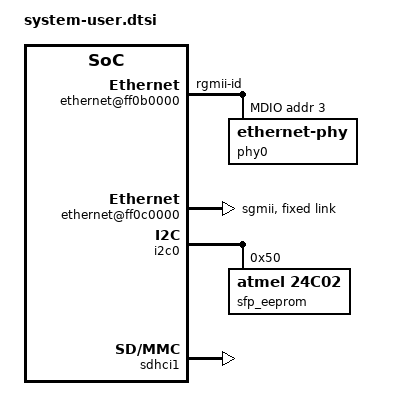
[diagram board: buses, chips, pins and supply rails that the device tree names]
/include/ "system-conf.dtsi"
/ {
};

/* Debug ethernet port */
&{/axi/ethernet@ff0b0000} {
    status = "okay";
    phy-mode = "rgmii-id";
    /delete-node/ fixed-link;
    mdio {
        #address-cells = <1>;
        #size-cells = <0>;
        phy0: ethernet-phy@3 {
            reg = <3>;
            device_type = "ethernet-phy";
        };
    };
};

/* SFP GbE */
&{/axi/ethernet@ff0c0000} {
    status = "okay";
    phy-mode = "sgmii";
    is-internal-pcspma;
    fixed-link {
        speed = <1000>;
        full-duplex;
    };
};

&i2c0 {
    status = "okay";
    sfp_eeprom: sfp@50 {
        compatible = "atmel,24c02";
        reg = <0x50>;
    };
};

&sdhci1 {
        status = "okay";
        no-1-8-v;
        xlnx,mio_bank = <1>;
        wp-inverted;
};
